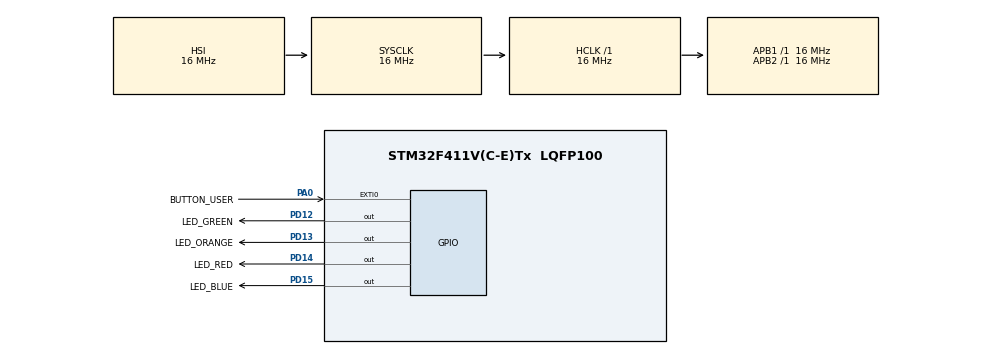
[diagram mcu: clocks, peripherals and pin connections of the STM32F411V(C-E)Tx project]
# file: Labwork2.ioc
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Mcu.Family=STM32F4
Mcu.Name=STM32F411V(C-E)Tx
Mcu.Package=LQFP100
NVIC.EXTI0_IRQn=true\:0\:0\:false\:false\:true\:true\:true\:true
NVIC.PriorityGroup=NVIC_PRIORITYGROUP_4
PA0-WKUP.GPIO_Label=BUTTON_USER
PA0-WKUP.Signal=GPXTI0
PD12.GPIO_Label=LED_GREEN
PD12.Signal=GPIO_Output
PD13.GPIO_Label=LED_ORANGE
PD13.Signal=GPIO_Output
PD14.GPIO_Label=LED_RED
PD14.Signal=GPIO_Output
PD15.GPIO_Label=LED_BLUE
PD15.Signal=GPIO_Output
ProjectManager.HeapSize=0x200
ProjectManager.StackSize=0x400
ProjectManager.TargetToolchain=STM32CubeIDE
RCC.AHBFreq_Value=16000000
RCC.APB1Freq_Value=16000000
RCC.APB2Freq_Value=16000000
RCC.CortexFreq_Value=16000000
RCC.HSE_VALUE=25000000
RCC.HSI_VALUE=16000000
RCC.LSE_VALUE=32768
RCC.SYSCLKFreq_VALUE=16000000
RCC.VCOOutputFreq_Value=192000000
board=custom

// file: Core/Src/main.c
/* USER CODE BEGIN Header */
/**
  ******************************************************************************
  * @file           : main.c
  * @brief          : Main program body
  ******************************************************************************
  * @attention
  *
  * Copyright (c) 2023 STMicroelectronics.
  * All rights reserved.
  *
  * This software is licensed under terms that can be found in the LICENSE file
  * in the root directory of this software component.
  * If no LICENSE file comes with this software, it is provided AS-IS.
  *
  ******************************************************************************
  */
/* USER CODE END Header */
#include "main.h"

/* USER CODE BEGIN Includes */
#include <stdint.h>
/* USER CODE END Includes */

/* USER CODE BEGIN PV */

const int LEDS_ARRAY_SIZE = 4;

unsigned int ledsIndex = 0;

/* USER CODE END PV */

void SystemClock_Config(void);
static void MX_GPIO_Init(void);
/* USER CODE BEGIN PFP */

void light_led(const uint16_t, const uint32_t);

/* USER CODE END PFP */

int main(void)
{
  /* USER CODE BEGIN 1 */

	const int DELAY = 500;

	uint16_t leds[] = { GPIO_PIN_12, GPIO_PIN_13, GPIO_PIN_14, GPIO_PIN_15 };

  /* USER CODE END 1 */

  /* MCU Configuration--------------------------------------------------------*/

  /* Reset of all peripherals, Initializes the Flash interface and the Systick. */
  HAL_Init();

  /* Configure the system clock */
  SystemClock_Config();

  /* Initialize all configured peripherals */
  MX_GPIO_Init();

  /* Infinite loop */
  while (1)
  {

    /* USER CODE BEGIN 3 */

	  light_led(leds[ledsIndex], DELAY);
  }
  /* USER CODE END 3 */
}

void SystemClock_Config(void)
{
  RCC_OscInitTypeDef RCC_OscInitStruct = {0};
  RCC_ClkInitTypeDef RCC_ClkInitStruct = {0};

  /** Configure the main internal regulator output voltage
  */
  __HAL_RCC_PWR_CLK_ENABLE();
  __HAL_PWR_VOLTAGESCALING_CONFIG(PWR_REGULATOR_VOLTAGE_SCALE1);

  /** Initializes the RCC Oscillators according to the specified parameters
  * in the RCC_OscInitTypeDef structure.
  */
  RCC_OscInitStruct.OscillatorType = RCC_OSCILLATORTYPE_HSI;
  RCC_OscInitStruct.HSIState = RCC_HSI_ON;
  RCC_OscInitStruct.HSICalibrationValue = RCC_HSICALIBRATION_DEFAULT;
  RCC_OscInitStruct.PLL.PLLState = RCC_PLL_NONE;
  if (HAL_RCC_OscConfig(&RCC_OscInitStruct) != HAL_OK)
  {
    Error_Handler();
  }

  /** Initializes the CPU, AHB and APB buses clocks
  */
  RCC_ClkInitStruct.ClockType = RCC_CLOCKTYPE_HCLK|RCC_CLOCKTYPE_SYSCLK
                              |RCC_CLOCKTYPE_PCLK1|RCC_CLOCKTYPE_PCLK2;
  RCC_ClkInitStruct.SYSCLKSource = RCC_SYSCLKSOURCE_HSI;
  RCC_ClkInitStruct.AHBCLKDivider = RCC_SYSCLK_DIV1;
  RCC_ClkInitStruct.APB1CLKDivider = RCC_HCLK_DIV1;
  RCC_ClkInitStruct.APB2CLKDivider = RCC_HCLK_DIV1;

  if (HAL_RCC_ClockConfig(&RCC_ClkInitStruct, FLASH_LATENCY_0) != HAL_OK)
  {
    Error_Handler();
  }
}

static void MX_GPIO_Init(void)
{
  GPIO_InitTypeDef GPIO_InitStruct = {0};

  /* GPIO Ports Clock Enable */
  __HAL_RCC_GPIOA_CLK_ENABLE();
  __HAL_RCC_GPIOD_CLK_ENABLE();

  /*Configure GPIO pin Output Level */
  HAL_GPIO_WritePin(GPIOD, LED_GREEN_Pin|LED_ORANGE_Pin|LED_RED_Pin|LED_BLUE_Pin, GPIO_PIN_RESET);

  /*Configure GPIO pin : BUTTON_USER_Pin */
  GPIO_InitStruct.Pin = BUTTON_USER_Pin;
  GPIO_InitStruct.Mode = GPIO_MODE_IT_RISING;
  GPIO_InitStruct.Pull = GPIO_NOPULL;
  HAL_GPIO_Init(BUTTON_USER_GPIO_Port, &GPIO_InitStruct);

  /*Configure GPIO pins : LED_GREEN_Pin LED_ORANGE_Pin LED_RED_Pin LED_BLUE_Pin */
  GPIO_InitStruct.Pin = LED_GREEN_Pin|LED_ORANGE_Pin|LED_RED_Pin|LED_BLUE_Pin;
  GPIO_InitStruct.Mode = GPIO_MODE_OUTPUT_PP;
  GPIO_InitStruct.Pull = GPIO_NOPULL;
  GPIO_InitStruct.Speed = GPIO_SPEED_FREQ_LOW;
  HAL_GPIO_Init(GPIOD, &GPIO_InitStruct);

  /* EXTI interrupt init*/
  HAL_NVIC_SetPriority(EXTI0_IRQn, 0, 0);
  HAL_NVIC_EnableIRQ(EXTI0_IRQn);

}

/* USER CODE BEGIN 4 */

void light_led(const uint16_t led, const uint32_t delay)
{
	if (delay < 0)
		return;

	if (led != GPIO_PIN_12 && led != GPIO_PIN_13 && led != GPIO_PIN_14 && led != GPIO_PIN_15)
		return;

	HAL_GPIO_TogglePin(GPIOD, led);
	HAL_Delay(delay);
	HAL_GPIO_TogglePin(GPIOD, led);
}

/* USER CODE END 4 */

void Error_Handler(void)
{
  __disable_irq();
  while (1)
  {
  }
}
